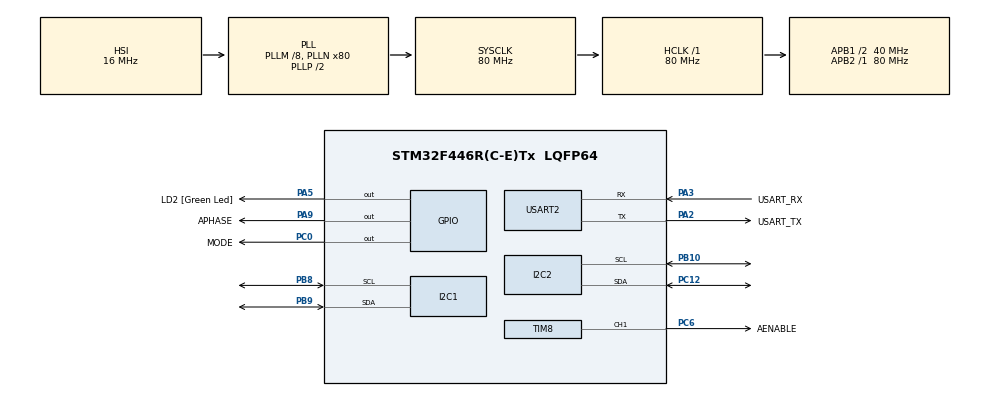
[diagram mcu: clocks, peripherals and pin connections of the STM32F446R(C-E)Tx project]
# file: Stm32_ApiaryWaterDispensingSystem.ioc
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FREERTOS.BinarySemaphores01=BinarySemBme280,Dynamic,NULL;BinarySemBH1750,Dynamic,NULL;BinarySemRTC,Dynamic,NULL;BinarySemCountUp,Dynamic,NULL;BinarySemCountDown,Dynamic,NULL;BinarySemSetAlarm,Dynamic,NULL
FREERTOS.Mutexes01=MutexPrintf,Dynamic,NULL;MutexI2C,Dynamic,NULL;MutexRTC,Dynamic,NULL;MutexAlarm,Dynamic,NULL;MutexI2C2,Dynamic,NULL
FREERTOS.Queues01=QueueBme,16,BmeData_t,0,Dynamic,NULL,NULL;QueueBh1750,16,BHData_t,0,Dynamic,NULL,NULL;QueueRTCData,16,RTC_DateTypeDef,0,Dynamic,NULL,NULL;QueueRTCTime,16,RTC_TimeTypeDef,0,Dynamic,NULL,NULL;QueueCounterPump,16,RTC_TimeTypeDef,0,Dynamic,NULL,NULL;QueueAlarm,16,RTC_TimeTypeDef,0,Dynamic,NULL,NULL
FREERTOS.Tasks01=TaskLed,24,128,StartTaskL,Default,NULL,Dynamic,NULL,NULL;TaskRTC,24,2048,StartTaskRTC,Default,NULL,Dynamic,NULL,NULL;TaskBme280,24,512,StartTaskBme280,Default,NULL,Dynamic,NULL,NULL;TaskBH1750,24,512,StartTaskBH1750,Default,NULL,Dynamic,NULL,NULL;TaskSSD1306,24,2048,StartTaskSSD1306,Default,NULL,Dynamic,NULL,NULL;TaskPumpON,24,512,StartTaskPumpON,Default,NULL,Dynamic,NULL,NULL;TaskPumpOFF,24,256,StartTaskPumpOFF,Default,NULL,Dynamic,NULL,NULL;TaskCounterUp,24,512,StartTaskCounterPumpUp,Default,NULL,Dynamic,NULL,NULL;TaskCounterDown,24,256,StartTaskCounterDown,Default,NULL,Dynamic,NULL,NULL;TaskAlarmCountU,24,256,StartTaskAlarmCounterUp,Default,NULL,Dynamic,NULL,NULL;TaskAlarmCountD,24,256,StartTaskAlarmCountDown,Default,NULL,Dynamic,NULL,NULL
FREERTOS.Timers01=TimerBmeData,CallbackTimerBmeData,osTimerPeriodic,Default,NULL,Dynamic,NULL;TimerBh1750Data,CallbackTimerBh1750Data,osTimerPeriodic,Default,NULL,Dynamic,NULL;TimerRTC,CallbackTimerRTC,osTimerPeriodic,Default,NULL,Dynamic,NULL
FREERTOS.configENABLE_FPU=0
FREERTOS.configTOTAL_HEAP_SIZE=32768
FREERTOS.configUSE_APPLICATION_TASK_TAG=0
FREERTOS.configUSE_NEWLIB_REENTRANT=1
I2C1.GeneralCallMode=I2C_GENERALCALL_DISABLE
I2C1.I2C_Mode=I2C_Fast
I2C2.I2C_Mode=I2C_Fast
Mcu.Family=STM32F4
Mcu.Name=STM32F446R(C-E)Tx
Mcu.Package=LQFP64
NVIC.PriorityGroup=NVIC_PRIORITYGROUP_4
NVIC.TIM1_UP_TIM10_IRQn=true\:15\:0\:false\:false\:true\:false\:false\:true\:true
NVIC.TimeBase=TIM1_UP_TIM10_IRQn
NVIC.TimeBaseIP=TIM10
PA13.GPIO_Label=TMS
PA13.Mode=Serial_Wire
PA13.Signal=SYS_JTMS-SWDIO
PA14.GPIO_Label=TCK
PA14.Mode=Serial_Wire
PA14.Signal=SYS_JTCK-SWCLK
PA2.GPIO_Label=USART_TX
PA2.Mode=Asynchronous
PA2.Signal=USART2_TX
PA3.GPIO_Label=USART_RX
PA3.Mode=Asynchronous
PA3.Signal=USART2_RX
PA5.GPIO_Label=LD2 [Green Led]
PA5.Signal=GPIO_Output
PA9.GPIO_Label=APHASE
PA9.Signal=GPIO_Output
PB10.Mode=I2C
PB10.Signal=I2C2_SCL
PB3.GPIO_Label=SWO
PB3.Signal=SYS_JTDO-SWO
PB8.Mode=I2C
PB8.Signal=I2C1_SCL
PB9.Mode=I2C
PB9.Signal=I2C1_SDA
PC0.GPIO_Label=MODE
PC0.Signal=GPIO_Output
PC12.Mode=I2C
PC12.Signal=I2C2_SDA
PC14-OSC32_IN.Mode=LSE-External-Oscillator
PC14-OSC32_IN.Signal=RCC_OSC32_IN
PC15-OSC32_OUT.Mode=LSE-External-Oscillator
PC15-OSC32_OUT.Signal=RCC_OSC32_OUT
PC6.GPIO_Label=AENABLE
PC6.Signal=S_TIM8_CH1
PH0-OSC_IN.Mode=HSE-External-Oscillator
PH0-OSC_IN.Signal=RCC_OSC_IN
PH1-OSC_OUT.Mode=HSE-External-Oscillator
PH1-OSC_OUT.Signal=RCC_OSC_OUT
ProjectManager.HeapSize=0x400
ProjectManager.StackSize=0x800
ProjectManager.TargetToolchain=STM32CubeIDE
RCC.48MHZClocksFreq_Value=84000000
RCC.AHBFreq_Value=80000000
RCC.APB1CLKDivider=RCC_HCLK_DIV2
RCC.APB1Freq_Value=40000000
RCC.APB1TimFreq_Value=80000000
RCC.APB2Freq_Value=80000000
RCC.APB2TimFreq_Value=80000000
RCC.CortexFreq_Value=80000000
RCC.FLatency-AdvancedSettings=FLASH_LATENCY_2
RCC.HCLKFreq_Value=80000000
RCC.HSE_VALUE=8000000
RCC.HSI_VALUE=16000000
RCC.PLLM=8
RCC.PLLN=80
RCC.SYSCLKFreq_VALUE=80000000
RCC.SYSCLKSource=RCC_SYSCLKSOURCE_PLLCLK
RCC.USBFreq_Value=80000000
RCC.VCOOutputFreq_Value=160000000
RTC.Format=RTC_FORMAT_BIN
RTC.Hours=7
RTC.Minutes=59
RTC.Month=RTC_MONTH_MARCH
RTC.Seconds=30
RTC.WeekDay=RTC_WEEKDAY_FRIDAY
RTC.Year=24
SH.S_TIM8_CH1.0=TIM8_CH1,PWM Generation1 CH1
TIM8.Channel-PWM\ Generation1\ CH1=TIM_CHANNEL_1
TIM8.OC1Preload_PWM=ENABLE
TIM8.Period=99
TIM8.Prescaler=39
USART2.VirtualMode=VM_ASYNC
VP_FREERTOS_VS_CMSIS_V2.Mode=CMSIS_V2
VP_RTC_VS_RTC_Activate.Mode=RTC_Enabled
VP_RTC_VS_RTC_Calendar.Mode=RTC_Calendar
VP_SYS_VS_tim10.Mode=TIM10
VP_TIM8_VS_ClockSourceINT.Mode=Internal
board=NUCLEO-F446RE

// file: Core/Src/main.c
/* USER CODE BEGIN Header */
/**
  ******************************************************************************
  * @file           : main.c
  * @brief          : Main program body
  ******************************************************************************
  * @attention
  *
  * Copyright (c) 2024 STMicroelectronics.
  * All rights reserved.
  *
  * This software is licensed under terms that can be found in the LICENSE file
  * in the root directory of this software component.
  * If no LICENSE file comes with this software, it is provided AS-IS.
  *
  ******************************************************************************
  */
/* USER CODE END Header */
#include "main.h"
#include "cmsis_os.h"
#include "i2c.h"
#include "rtc.h"
#include "tim.h"
#include "usart.h"
#include "gpio.h"

void SystemClock_Config(void);
void MX_FREERTOS_Init(void);

/* USER CODE BEGIN 0 */
//RTC_TimeTypeDef _RTCTime;
// RTC_DateTypeDef _RTCDate;

/* USER CODE END 0 */

int main(void)
{
  /* USER CODE BEGIN 1 */
//		_RTCDate.Date = 0x1;
//	 	_RTCDate.Month = RTC_MONTH_MARCH;
//	 	_RTCDate.Year = 0x24;
//
//	 	_RTCTime.Hours = 0x0;
//	    _RTCTime.Minutes =0x0;
//		_RTCTime.Seconds =0x0;
  /* USER CODE END 1 */

  /* MCU Configuration--------------------------------------------------------*/

  /* Reset of all peripherals, Initializes the Flash interface and the Systick. */
  HAL_Init();

  /* Configure the system clock */
  SystemClock_Config();

  /* Initialize all configured peripherals */
  MX_GPIO_Init();
  MX_I2C1_Init();
  MX_USART2_UART_Init();
  MX_RTC_Init();
  MX_TIM8_Init();
  MX_I2C2_Init();

  /* Init scheduler */
  osKernelInitialize();  /* Call init function for freertos objects (in freertos.c) */
  MX_FREERTOS_Init();

  /* Start scheduler */
  osKernelStart();
  /* We should never get here as control is now taken by the scheduler */
  /* Infinite loop */
  while (1)
  {

  }
}

void SystemClock_Config(void)
{
  RCC_OscInitTypeDef RCC_OscInitStruct = {0};
  RCC_ClkInitTypeDef RCC_ClkInitStruct = {0};

  /** Configure the main internal regulator output voltage
  */
  __HAL_RCC_PWR_CLK_ENABLE();
  __HAL_PWR_VOLTAGESCALING_CONFIG(PWR_REGULATOR_VOLTAGE_SCALE3);

  /** Initializes the RCC Oscillators according to the specified parameters
  * in the RCC_OscInitTypeDef structure.
  */
  RCC_OscInitStruct.OscillatorType = RCC_OSCILLATORTYPE_HSI|RCC_OSCILLATORTYPE_LSI;
  RCC_OscInitStruct.LSEState = RCC_LSE_ON;
  RCC_OscInitStruct.HSIState = RCC_HSI_ON;
  RCC_OscInitStruct.HSICalibrationValue = RCC_HSICALIBRATION_DEFAULT;
  RCC_OscInitStruct.LSIState = RCC_LSI_ON;
  RCC_OscInitStruct.PLL.PLLState = RCC_PLL_ON;
  RCC_OscInitStruct.PLL.PLLSource = RCC_PLLSOURCE_HSI;
  RCC_OscInitStruct.PLL.PLLM = 8;
  RCC_OscInitStruct.PLL.PLLN = 80;
  RCC_OscInitStruct.PLL.PLLP = RCC_PLLP_DIV2;
  RCC_OscInitStruct.PLL.PLLQ = 2;
  RCC_OscInitStruct.PLL.PLLR = 2;
  if (HAL_RCC_OscConfig(&RCC_OscInitStruct) != HAL_OK)
  {
    Error_Handler();
  }

  /** Initializes the CPU, AHB and APB buses clocks
  */
  RCC_ClkInitStruct.ClockType = RCC_CLOCKTYPE_HCLK|RCC_CLOCKTYPE_SYSCLK
                              |RCC_CLOCKTYPE_PCLK1|RCC_CLOCKTYPE_PCLK2;
  RCC_ClkInitStruct.SYSCLKSource = RCC_SYSCLKSOURCE_PLLCLK;
  RCC_ClkInitStruct.AHBCLKDivider = RCC_SYSCLK_DIV1;
  RCC_ClkInitStruct.APB1CLKDivider = RCC_HCLK_DIV2;
  RCC_ClkInitStruct.APB2CLKDivider = RCC_HCLK_DIV1;

  if (HAL_RCC_ClockConfig(&RCC_ClkInitStruct, FLASH_LATENCY_2) != HAL_OK)
  {
    Error_Handler();
  }
}

void HAL_TIM_PeriodElapsedCallback(TIM_HandleTypeDef *htim)
{
  if (htim->Instance == TIM10) {
    HAL_IncTick();
  }
}

void Error_Handler(void)
{
  __disable_irq();
  while (1)
  {
  }
}

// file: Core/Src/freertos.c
/* USER CODE BEGIN Header */
/**
  ******************************************************************************
  * File Name          : freertos.c
  * Description        : Code for freertos applications
  ******************************************************************************
  * @attention
  *
  * Copyright (c) 2024 STMicroelectronics.
  * All rights reserved.
  *
  * This software is licensed under terms that can be found in the LICENSE file
  * in the root directory of this software component.
  * If no LICENSE file comes with this software, it is provided AS-IS.
  *
  ******************************************************************************
  */
/* USER CODE END Header */

#include "FreeRTOS.h"
#include "task.h"
#include "main.h"
#include "cmsis_os.h"

/* USER CODE BEGIN Includes */
#include "semphr.h"

#include "stm32f4xx_it.h"
#include "stm32f4xx_hal.h"
#include "stm32f4xx_hal_gpio_ex.h"
#include "stm32f4xx_hal_rtc_ex.h"
#include "stm32_hal_legacy.h"
#include "stm32f4xx_hal_gpio.h"
#include "stm32f4xx_hal_rtc.h"
#include "stm32f4xx_hal_i2c.h"

#include "stm32f4xx_hal_exti.h"
#include "stm32f4xx_hal_uart.h"

#include <stdio.h>
#include <printf.h>

#include "usart.h"
#include "gpio.h"
#include "i2c.h"
#include "rtc.h"
#include "bme280.h"
#include "tim.h"
#include "SSD1306_OLED.h"
#include "drv8835.h"

#include "bh1750.h"
#include "GFX_BW.h"
#include "fonts/font_8x5.h"
/* USER CODE END Includes */

/* USER CODE BEGIN Variables */
typedef struct {
	float Humidity;
	float Temperature;
	int32_t Pressure;
} BmeData_t;
typedef struct {
	float LightIntensity;

} BHData_t;

/* USER CODE END Variables */
/* Definitions for TaskLed */
osThreadId_t TaskLedHandle;
const osThreadAttr_t TaskLed_attributes = {
  .name = "TaskLed",
  .stack_size = 128 * 4,
  .priority = (osPriority_t) osPriorityNormal,
};
/* Definitions for TaskRTC */
osThreadId_t TaskRTCHandle;
const osThreadAttr_t TaskRTC_attributes = {
  .name = "TaskRTC",
  .stack_size = 2048 * 4,
  .priority = (osPriority_t) osPriorityNormal,
};
/* Definitions for TaskBme280 */
osThreadId_t TaskBme280Handle;
const osThreadAttr_t TaskBme280_attributes = {
  .name = "TaskBme280",
  .stack_size = 512 * 4,
  .priority = (osPriority_t) osPriorityNormal,
};
/* Definitions for TaskBH1750 */
osThreadId_t TaskBH1750Handle;
const osThreadAttr_t TaskBH1750_attributes = {
  .name = "TaskBH1750",
  .stack_size = 512 * 4,
  .priority = (osPriority_t) osPriorityNormal,
};
/* Definitions for TaskSSD1306 */
osThreadId_t TaskSSD1306Handle;
const osThreadAttr_t TaskSSD1306_attributes = {
  .name = "TaskSSD1306",
  .stack_size = 2048 * 4,
  .priority = (osPriority_t) osPriorityNormal,
};
/* Definitions for TaskPumpON */
osThreadId_t TaskPumpONHandle;
const osThreadAttr_t TaskPumpON_attributes = {
  .name = "TaskPumpON",
  .stack_size = 512 * 4,
  .priority = (osPriority_t) osPriorityNormal,
};
/* Definitions for TaskPumpOFF */
osThreadId_t TaskPumpOFFHandle;
const osThreadAttr_t TaskPumpOFF_attributes = {
  .name = "TaskPumpOFF",
  .stack_size = 256 * 4,
  .priority = (osPriority_t) osPriorityNormal,
};
/* Definitions for TaskCounterUp */
osThreadId_t TaskCounterUpHandle;
const osThreadAttr_t TaskCounterUp_attributes = {
  .name = "TaskCounterUp",
  .stack_size = 512 * 4,
  .priority = (osPriority_t) osPriorityNormal,
};
/* Definitions for TaskCounterDown */
osThreadId_t TaskCounterDownHandle;
const osThreadAttr_t TaskCounterDown_attributes = {
  .name = "TaskCounterDown",
  .stack_size = 256 * 4,
  .priority = (osPriority_t) osPriorityNormal,
};
/* Definitions for TaskAlarmCountU */
osThreadId_t TaskAlarmCountUHandle;
const osThreadAttr_t TaskAlarmCountU_attributes = {
  .name = "TaskAlarmCountU",
  .stack_size = 256 * 4,
  .priority = (osPriority_t) osPriorityNormal,
};
/* Definitions for TaskAlarmCountD */
osThreadId_t TaskAlarmCountDHandle;
const osThreadAttr_t TaskAlarmCountD_attributes = {
  .name = "TaskAlarmCountD",
  .stack_size = 256 * 4,
  .priority = (osPriority_t) osPriorityNormal,
};
/* Definitions for QueueBme */
osMessageQueueId_t QueueBmeHandle;
const osMessageQueueAttr_t QueueBme_attributes = {
  .name = "QueueBme"
};
/* Definitions for QueueBh1750 */
osMessageQueueId_t QueueBh1750Handle;
const osMessageQueueAttr_t QueueBh1750_attributes = {
  .name = "QueueBh1750"
};
/* Definitions for QueueRTCData */
osMessageQueueId_t QueueRTCDataHandle;
const osMessageQueueAttr_t QueueRTCData_attributes = {
  .name = "QueueRTCData"
};
/* Definitions for QueueRTCTime */
osMessageQueueId_t QueueRTCTimeHandle;
const osMessageQueueAttr_t QueueRTCTime_attributes = {
  .name = "QueueRTCTime"
};
/* Definitions for QueueCounterPump */
osMessageQueueId_t QueueCounterPumpHandle;
const osMessageQueueAttr_t QueueCounterPump_attributes = {
  .name = "QueueCounterPump"
};
/* Definitions for QueueAlarm */
osMessageQueueId_t QueueAlarmHandle;
const osMessageQueueAttr_t QueueAlarm_attributes = {
  .name = "QueueAlarm"
};
/* Definitions for TimerBmeData */
osTimerId_t TimerBmeDataHandle;
const osTimerAttr_t TimerBmeData_attributes = {
  .name = "TimerBmeData"
};
/* Definitions for TimerBh1750Data */
osTimerId_t TimerBh1750DataHandle;
const osTimerAttr_t TimerBh1750Data_attributes = {
  .name = "TimerBh1750Data"
};
/* Definitions for TimerRTC */
osTimerId_t TimerRTCHandle;
const osTimerAttr_t TimerRTC_attributes = {
  .name = "TimerRTC"
};
/* Definitions for MutexPrintf */
osMutexId_t MutexPrintfHandle;
const osMutexAttr_t MutexPrintf_attributes = {
  .name = "MutexPrintf"
};
/* Definitions for MutexI2C */
osMutexId_t MutexI2CHandle;
const osMutexAttr_t MutexI2C_attributes = {
  .name = "MutexI2C"
};
/* Definitions for MutexRTC */
osMutexId_t MutexRTCHandle;
const osMutexAttr_t MutexRTC_attributes = {
  .name = "MutexRTC"
};
/* Definitions for MutexAlarm */
osMutexId_t MutexAlarmHandle;
const osMutexAttr_t MutexAlarm_attributes = {
  .name = "MutexAlarm"
};
/* Definitions for MutexI2C2 */
osMutexId_t MutexI2C2Handle;
const osMutexAttr_t MutexI2C2_attributes = {
  .name = "MutexI2C2"
};
/* Definitions for BinarySemBme280 */
osSemaphoreId_t BinarySemBme280Handle;
const osSemaphoreAttr_t BinarySemBme280_attributes = {
  .name = "BinarySemBme280"
};
/* Definitions for BinarySemBH1750 */
osSemaphoreId_t BinarySemBH1750Handle;
const osSemaphoreAttr_t BinarySemBH1750_attributes = {
  .name = "BinarySemBH1750"
};
/* Definitions for BinarySemRTC */
osSemaphoreId_t BinarySemRTCHandle;
const osSemaphoreAttr_t BinarySemRTC_attributes = {
  .name = "BinarySemRTC"
};
/* Definitions for BinarySemCountUp */
osSemaphoreId_t BinarySemCountUpHandle;
const osSemaphoreAttr_t BinarySemCountUp_attributes = {
  .name = "BinarySemCountUp"
};
/* Definitions for BinarySemCountDown */
osSemaphoreId_t BinarySemCountDownHandle;
const osSemaphoreAttr_t BinarySemCountDown_attributes = {
  .name = "BinarySemCountDown"
};
/* Definitions for BinarySemSetAlarm */
osSemaphoreId_t BinarySemSetAlarmHandle;
const osSemaphoreAttr_t BinarySemSetAlarm_attributes = {
  .name = "BinarySemSetAlarm"
};

/* USER CODE BEGIN FunctionPrototypes */
void _putchar(char character);
/* USER CODE END FunctionPrototypes */

void StartTaskL(void *argument);
void StartTaskRTC(void *argument);
void StartTaskBme280(void *argument);
void StartTaskBH1750(void *argument);
void StartTaskSSD1306(void *argument);
void StartTaskPumpON(void *argument);
void StartTaskPumpOFF(void *argument);
void StartTaskCounterPumpUp(void *argument);
void StartTaskCounterDown(void *argument);
void StartTaskAlarmCounterUp(void *argument);
void StartTaskAlarmCountDown(void *argument);
void CallbackTimerBmeData(void *argument);
void CallbackTimerBh1750Data(void *argument);
void CallbackTimerRTC(void *argument);

void MX_FREERTOS_Init(void); /* (MISRA C 2004 rule 8.1) */

void MX_FREERTOS_Init(void) {
  /* Create the mutex(es) */
  /* creation of MutexPrintf */
  MutexPrintfHandle = osMutexNew(&MutexPrintf_attributes);

  /* creation of MutexI2C */
  MutexI2CHandle = osMutexNew(&MutexI2C_attributes);

  /* creation of MutexRTC */
  MutexRTCHandle = osMutexNew(&MutexRTC_attributes);

  /* creation of MutexAlarm */
  MutexAlarmHandle = osMutexNew(&MutexAlarm_attributes);

  /* creation of MutexI2C2 */
  MutexI2C2Handle = osMutexNew(&MutexI2C2_attributes);

  /* Create the semaphores(s) */
  /* creation of BinarySemBme280 */
  BinarySemBme280Handle = osSemaphoreNew(1, 1, &BinarySemBme280_attributes);

  /* creation of BinarySemBH1750 */
  BinarySemBH1750Handle = osSemaphoreNew(1, 1, &BinarySemBH1750_attributes);

  /* creation of BinarySemRTC */
  BinarySemRTCHandle = osSemaphoreNew(1, 1, &BinarySemRTC_attributes);

  /* creation of BinarySemCountUp */
  BinarySemCountUpHandle = osSemaphoreNew(1, 1, &BinarySemCountUp_attributes);

  /* creation of BinarySemCountDown */
  BinarySemCountDownHandle = osSemaphoreNew(1, 1, &BinarySemCountDown_attributes);

  /* creation of BinarySemSetAlarm */
  BinarySemSetAlarmHandle = osSemaphoreNew(1, 1, &BinarySemSetAlarm_attributes);

  /* Create the timer(s) */
  /* creation of TimerBmeData */
  TimerBmeDataHandle = osTimerNew(CallbackTimerBmeData, osTimerPeriodic, NULL, &TimerBmeData_attributes);

  /* creation of TimerBh1750Data */
  TimerBh1750DataHandle = osTimerNew(CallbackTimerBh1750Data, osTimerPeriodic, NULL, &TimerBh1750Data_attributes);

  /* creation of TimerRTC */
  TimerRTCHandle = osTimerNew(CallbackTimerRTC, osTimerPeriodic, NULL, &TimerRTC_attributes);

  /* Create the queue(s) */
  /* creation of QueueBme */
  QueueBmeHandle = osMessageQueueNew (16, sizeof(BmeData_t), &QueueBme_attributes);

  /* creation of QueueBh1750 */
  QueueBh1750Handle = osMessageQueueNew (16, sizeof(BHData_t), &QueueBh1750_attributes);

  /* creation of QueueRTCData */
  QueueRTCDataHandle = osMessageQueueNew (16, sizeof(RTC_DateTypeDef), &QueueRTCData_attributes);

  /* creation of QueueRTCTime */
  QueueRTCTimeHandle = osMessageQueueNew (16, sizeof(RTC_TimeTypeDef), &QueueRTCTime_attributes);

  /* creation of QueueCounterPump */
  QueueCounterPumpHandle = osMessageQueueNew (16, sizeof(RTC_TimeTypeDef), &QueueCounterPump_attributes);

  /* creation of QueueAlarm */
  QueueAlarmHandle = osMessageQueueNew (16, sizeof(RTC_TimeTypeDef), &QueueAlarm_attributes);

  /* Create the thread(s) */
  /* creation of TaskLed */
  TaskLedHandle = osThreadNew(StartTaskL, NULL, &TaskLed_attributes);

  /* creation of TaskRTC */
  TaskRTCHandle = osThreadNew(StartTaskRTC, NULL, &TaskRTC_attributes);

  /* creation of TaskBme280 */
  TaskBme280Handle = osThreadNew(StartTaskBme280, NULL, &TaskBme280_attributes);

  /* creation of TaskBH1750 */
  TaskBH1750Handle = osThreadNew(StartTaskBH1750, NULL, &TaskBH1750_attributes);

  /* creation of TaskSSD1306 */
  TaskSSD1306Handle = osThreadNew(StartTaskSSD1306, NULL, &TaskSSD1306_attributes);

  /* creation of TaskPumpON */
  TaskPumpONHandle = osThreadNew(StartTaskPumpON, NULL, &TaskPumpON_attributes);

  /* creation of TaskPumpOFF */
  TaskPumpOFFHandle = osThreadNew(StartTaskPumpOFF, NULL, &TaskPumpOFF_attributes);

  /* creation of TaskCounterUp */
  TaskCounterUpHandle = osThreadNew(StartTaskCounterPumpUp, NULL, &TaskCounterUp_attributes);

  /* creation of TaskCounterDown */
  TaskCounterDownHandle = osThreadNew(StartTaskCounterDown, NULL, &TaskCounterDown_attributes);

  /* creation of TaskAlarmCountU */
  TaskAlarmCountUHandle = osThreadNew(StartTaskAlarmCounterUp, NULL, &TaskAlarmCountU_attributes);

  /* creation of TaskAlarmCountD */
  TaskAlarmCountDHandle = osThreadNew(StartTaskAlarmCountDown, NULL, &TaskAlarmCountD_attributes);

}

void StartTaskL(void *argument)
{
  /* USER CODE BEGIN StartTaskL */
	uint32_t tick4 = osKernelGetTickCount();
  /* Infinite loop */
  for(;;)
  {
	  tick4 += ((10000 * osKernelGetTickFreq()) / 1000);
	  osDelayUntil(tick4);
  }
  /* USER CODE END StartTaskL */
}

void StartTaskRTC(void *argument)
{
  /* USER CODE BEGIN StartTaskRTC */
//	RTC_TimeTypeDef _RTCTime;
// 	RTC_DateTypeDef _RTCDate;
 	extern RTC_HandleTypeDef hrtc;
 	 RTC_TimeTypeDef _RTCTime, _AlarmPeriod;
 	 RTC_DateTypeDef _RTCDate;
 	 RTC_AlarmTypeDef _AlarmON, _AlarmOFF;

 	RTC_TimeTypeDef _PumpOperatingTime;

 	 _AlarmON.AlarmTime.Hours = 8 ;
 	 _AlarmON.AlarmTime.Minutes = 0 ;
 	_AlarmON.AlarmTime.Seconds = 0 ;

	 _AlarmOFF.AlarmTime.Hours = 8 ;
	 _AlarmOFF.AlarmTime.Minutes = 1 ;
	_AlarmOFF.AlarmTime.Seconds = 0 ;

 	HAL_RTC_Init(&hrtc);
	HAL_RTC_GetDate(&hrtc, &_RTCDate, RTC_FORMAT_BIN);
	HAL_RTC_GetTime(&hrtc, &_RTCTime, RTC_FORMAT_BIN);

	HAL_RTC_SetAlarm(&hrtc, &_AlarmON, RTC_FORMAT_BIN);
	HAL_RTC_SetAlarm(&hrtc, &_AlarmOFF, RTC_FORMAT_BIN);

// 	_RTCTime.Hours = 0x0;
//    _RTCTime.Minutes =0x0;
//	_RTCTime.Seconds =0x0;
// 	HAL_RTC_SetDate(&hrtc, &_RTCDate, RTC_FORMAT_BIN);
// 	HAL_RTC_SetTime(&hrtc, &_RTCTime, RTC_FORMAT_BIN);

 	osTimerStart(TimerRTCHandle, 100);
 	uint32_t tick4 = osKernelGetTickCount();
  /* Infinite loop */
  for(;;)
  {
//	  osMessageQueuePut(QueueCounterPumpHandle, &_PumpOperatingTime, 0, 10);
//	  osMessageQueuePut(QueueAlarmHandle, &_AlarmPeriod, 0, 10);

	  HAL_RTC_GetDate(&hrtc, &_RTCDate, RTC_FORMAT_BIN);
	  HAL_RTC_GetTime(&hrtc, &_RTCTime, RTC_FORMAT_BIN);

////	  osMessageQueueGet(QueueAlarmHandle, &_AlarmPeriod, 0, 10);
//	  if(osOK == osSemaphoreAcquire(BinarySemSetAlarmHandle, 0))
//		{
//
//		  	  osMessageQueueGet(QueueAlarmHandle, &_AlarmPeriod, 0, 100);
//		  	  osMessageQueueGet(QueueCounterPumpHandle, &_PumpOperatingTime, 0, 100);
//			  _AlarmOFF.AlarmTime.Minutes = _PumpOperatingTime.Minutes;
//			  HAL_RTC_SetAlarm(&hrtc, &_AlarmOFF, RTC_FORMAT_BIN);
//		}

	   if (_AlarmON.AlarmTime.Hours ==  _RTCTime.Hours && _AlarmON.AlarmTime.Minutes ==  _RTCTime.Minutes )
	  	  {
		  osMutexAcquire(MutexAlarmHandle, osWaitForever);
			  HAL_GPIO_WritePin(LD2_GPIO_Port, LD2_Pin,GPIO_PIN_SET);
			  osThreadFlagsSet(TaskPumpONHandle, 0x00000001U);
			  _AlarmON.AlarmTime.Hours = _AlarmON.AlarmTime.Hours + 1;

			  if(_AlarmON.AlarmTime.Hours == 24)
				  {
					  _AlarmON.AlarmTime.Hours = 8;
				  }
			  HAL_RTC_SetAlarm(&hrtc, &_AlarmON, RTC_FORMAT_BIN);
			  osMutexRelease(MutexAlarmHandle);
	  	  }
	  else if(_AlarmOFF.AlarmTime.Hours ==  _RTCTime.Hours && _AlarmOFF.AlarmTime.Minutes ==  _RTCTime.Minutes )
	  	  {
		  	  osMutexAcquire(MutexAlarmHandle, osWaitForever);
			  HAL_GPIO_WritePin(LD2_GPIO_Port, LD2_Pin,GPIO_PIN_RESET);
			  osThreadFlagsSet(TaskPumpOFFHandle, 0x00000010U);

			  _AlarmOFF.AlarmTime.Hours = _AlarmOFF.AlarmTime.Hours + 1;
			  HAL_RTC_SetAlarm(&hrtc, &_AlarmOFF, RTC_FORMAT_BIN);
			  osMutexRelease(MutexAlarmHandle);

	  	  }

//	  if(RTCTime.Seconds != CompareSeconds)
//	  {
//
//
//		  CompareSeconds = RTCTime.Seconds;
//	  }
	  if (osOK == osSemaphoreAcquire(BinarySemRTCHandle, 0)) {
//	  	  			osMessageQueuePut(QueueRTCDataHandle, &_RTCDate, 0, osWaitForever);
	  	  			osMessageQueuePut(QueueRTCTimeHandle, &_RTCTime, 0, osWaitForever);
	  	  		}

	  tick4 += ((70 * osKernelGetTickFreq()) / 1000);
	  osDelayUntil(tick4);
  }
  /* USER CODE END StartTaskRTC */
}

void StartTaskBme280(void *argument)
{
  /* USER CODE BEGIN StartTaskBme280 */
	BmeData_t _BmeData;
	uint32_t tick3;
	osMutexAcquire(MutexI2CHandle, osWaitForever);
	BME280_Init(&hi2c1, BME280_TEMPERATURE_16BIT, BME280_PRESSURE_ULTRALOWPOWER,
	BME280_HUMINIDITY_STANDARD, BME280_NORMALMODE);
	BME280_SetConfig(BME280_STANDBY_MS_10, BME280_FILTER_OFF);
	osMutexRelease(MutexI2CHandle);
	osTimerStart(TimerBmeDataHandle, 100);

	tick3 = osKernelGetTickCount();
  /* Infinite loop */
  for(;;)
  {
	  osMutexAcquire(MutexI2CHandle, osWaitForever);
	  BME280_ReadTemperatureAndPressureAndHuminidity(&_BmeData.Temperature,
	  				&_BmeData.Pressure, &_BmeData.Humidity);
	  osMutexRelease(MutexI2CHandle);

	  if (osOK == osSemaphoreAcquire(BinarySemBme280Handle, 0)) {
	  			osMessageQueuePut(QueueBmeHandle, &_BmeData, 0, osWaitForever);
	  		}
		printf("TASK BME280 \n\r ");
//	  printf("Temperature: %.2f, Humidity: %.2f z \n\r", _BmeData.Temperature, _BmeData.Humidity);
//////    osDelay(100);
		tick3 += (75 * osKernelGetTickFreq()) / 1000;
		osDelayUntil(tick3);
  }
  /* USER CODE END StartTaskBme280 */
}

void StartTaskBH1750(void *argument)
{
  /* USER CODE BEGIN StartTaskBH1750 */

	uint32_t tick4;
	BHData_t _BHData;

	//	float BH1750_lux;

	osMutexAcquire(MutexI2CHandle, osWaitForever);
	BH1750_Init(&hi2c1);
	BH1750_SetMode(CONTINUOUS_HIGH_RES_MODE_2);
	osMutexRelease(MutexI2CHandle);

	osTimerStart(TimerBh1750DataHandle, 100);
	tick4 = osKernelGetTickCount();
  /* Infinite loop */
  for(;;)
  {
	  	  osMutexAcquire(MutexI2CHandle, osWaitForever);

	  		BH1750_ReadLight(&_BHData.LightIntensity);
	  //	  	  printf("Light: %.2f \n\r", _BhData.LightIntensity);
	  		osMutexRelease(MutexI2CHandle);

	  		if (osOK == osSemaphoreAcquire(BinarySemBH1750Handle, 0)) {
	  			osMessageQueuePut(QueueBh1750Handle, &_BHData, 0, osWaitForever);
	  		}
	  //	  	 	  if(BH1750_OK == BH1750_ReadLight(&BH1750_lux))
	  //	  	 	  	  {
	  //	  	 	  		  size = sprintf(buffer, "BH1750 Lux: %.2f\n\r", BH1750_lux);
	  //	  	 	  	  	  HAL_UART_Transmit(&huart2, (uint8_t*)buffer, size, 100);
	  //	  	 	  	  }
	  		printf("TASK BH1750 \n\r ");
	  		tick4 += ((65 * osKernelGetTickFreq()) / 1000);
	  		osDelayUntil(tick4);

  }
  /* USER CODE END StartTaskBH1750 */
}

void StartTaskSSD1306(void *argument)
{
  /* USER CODE BEGIN StartTaskSSD1306 */

	char MessageTemp[32], MessageHum[32];
	char MessageInten[32];
	char MessageTime[32];
	char MessageTimePump[32];

	BmeData_t _BmeData;
	BHData_t _BHData;
	RTC_TimeTypeDef _RTCTime;

	uint32_t tick2;

	osMutexAcquire(MutexI2C2Handle, osWaitForever);
	SSD1306_Init(&hi2c2);
	osMutexRelease(MutexI2C2Handle);

	GFX_SetFont(font_8x5);
	SSD1306_Clear(BLACK);
	SSD1306_Display();

	tick2 = osKernelGetTickCount();

  /* Infinite loop */
  for(;;)
  {
	  SSD1306_Clear(BLACK);
	  osMessageQueueGet(QueueBmeHandle, &_BmeData, 0, osWaitForever);
	  osMessageQueueGet(QueueBh1750Handle, &_BHData, 0, osWaitForever);
//	  osMessageQueueGet(QueueRTCDataHandle, &_RTCDate, 0,osWaitForever);
	  osMessageQueueGet(QueueRTCTimeHandle, &_RTCTime, 0, osWaitForever);

//	  osMessageQueueGet(QueueAlarmHandle, &_AlarmPeriodicty, 0, 50);

	  sprintf(MessageTemp, "Temperature: %.2f ", _BmeData.Temperature);
	  sprintf(MessageHum, "Humidity: %.2f", _BmeData.Humidity);
	  sprintf(MessageInten, "Lx: %.2f,", _BHData.LightIntensity);
//	  sprintf(MessageData, "Data: %02d.%02d.20%02d  Time: %02d:%02d:%02d:%02d",_RTCDate.Date,_RTCDate.Month,_RTCDate.Year,_RTCTime.Hours,_RTCTime.Minutes,_RTCTime.Seconds);
	  sprintf(MessageTime, "Time: %02d:%02d:%02d",_RTCTime.Hours,_RTCTime.Minutes,_RTCTime.Seconds);
//	  sprintf(MessageTimePump, "Pump OP Time: %02d Min",_PumpOperatingTime.Minutes);
//	  sprintf(MessageFreqAlarm, "Alarm Period: %02d H", _AlarmPeriod.Hours);
	  GFX_DrawString(0, 0, MessageTime, WHITE, 0);
	  GFX_DrawString(0, 10, MessageTemp, WHITE, 0);
	  GFX_DrawString(0, 20, MessageHum, WHITE, 0);
	  GFX_DrawString(0, 30, MessageInten, WHITE, 0);
//	  GFX_DrawString(0, 40, MessageTimePump, WHITE, 0);
//	  GFX_DrawString(0, 50, MessageFreqAlarm, WHITE, 0);

	  SSD1306_Display();

	  printf("TASK OLED \n\r");

//		printf("TASK OLED I2C MUTEX is released \n\r");
      tick2 += (250 * osKernelGetTickFreq()) / 1000;
	  osDelayUntil(tick2);
  }
  /* USER CODE END StartTaskSSD1306 */
}

void StartTaskPumpON(void *argument)
{
  /* USER CODE BEGIN StartTaskPumpON */

	drv8835_init();
  /* Infinite loop */
  for(;;)
  {

	  osThreadFlagsWait(0x00000001U, osFlagsWaitAny, osWaitForever);

	  drv8835_set_motorA_speed(99);
	  osThreadFlagsClear(0x00000001U);
  }
  /* USER CODE END StartTaskPumpON */
}

void StartTaskPumpOFF(void *argument)
{
  /* USER CODE BEGIN StartTaskPumpOFF */

  /* Infinite loop */
  for(;;)
  {

	  osThreadFlagsWait(0x00000010U, osFlagsWaitAny, osWaitForever);

	  drv8835_set_motorA_speed(0);

  }
  /* USER CODE END StartTaskPumpOFF */
}

void StartTaskCounterPumpUp(void *argument)
{
  /* USER CODE BEGIN StartTaskCounterPumpUp */
	RTC_TimeTypeDef _PumpOperatingTime;
	uint32_t tick;

	tick= osKernelGetTickCount();
  /* Infinite loop */
  for(;;)
  {

	  	  osThreadFlagsWait(0x00000100U, osFlagsWaitAll, osWaitForever);
		  osMessageQueueGet(QueueCounterPumpHandle, &_PumpOperatingTime, 0, 100);
	  	  _PumpOperatingTime.Minutes = _PumpOperatingTime.Minutes + 1;

	  	  if(_PumpOperatingTime.Minutes >= 59  )
	  	  {
	  		   _PumpOperatingTime.Minutes = 1;
	  	  }

	  	  osMessageQueuePut(QueueCounterPumpHandle, &_PumpOperatingTime, 0, 100);

	  	tick += (420 * osKernelGetTickFreq()) / 1000;
	  	osDelayUntil(tick);

  }
  /* USER CODE END StartTaskCounterPumpUp */
}

void StartTaskCounterDown(void *argument)
{
  /* USER CODE BEGIN StartTaskCounterDown */
	RTC_TimeTypeDef _PumpOperatingTime;

	uint32_t tick;
	tick = osKernelGetTickCount();
  /* Infinite loop */
  for(;;)
  {

	  	  	  osThreadFlagsWait(0x00001000U, osFlagsWaitAll, osWaitForever);

	  		  osMessageQueueGet(QueueCounterPumpHandle, &_PumpOperatingTime, 0, 100);
	  	      _PumpOperatingTime.Minutes = _PumpOperatingTime.Minutes - 1;

	  	  	  if(_PumpOperatingTime.Minutes == 0 ||_PumpOperatingTime.Minutes >= 60 )
	  	  	  {
	  	  	        _PumpOperatingTime.Minutes = 59;
	  	  	  }

	  	  	  osMessageQueuePut(QueueCounterPumpHandle, &_PumpOperatingTime,0,  100);

	 tick += (410 * osKernelGetTickFreq()) / 1000;
	osDelayUntil(tick);

  }
  /* USER CODE END StartTaskCounterDown */
}

void StartTaskAlarmCounterUp(void *argument)
{
  /* USER CODE BEGIN StartTaskAlarmCounterUp */
	RTC_TimeTypeDef _AlarmPeriod;

	uint32_t tick;
	tick = osKernelGetTickCount();
  /* Infinite loop */
  for(;;)
  {
	  osThreadFlagsWait(0x00010000U, osFlagsWaitAll, osWaitForever);
	  	  osMessageQueueGet(QueueAlarmHandle, &_AlarmPeriod, 0, 100);
	  	_AlarmPeriod.Hours= _AlarmPeriod.Hours + 1;

	  	  	  	  	  if(_AlarmPeriod.Hours >= 16 )
	  	  	  	  	  {
	  	  	  	  		  	 _AlarmPeriod.Hours = 1;
	  	  	  	  	  }

	  	  osMessageQueuePut(QueueAlarmHandle, &_AlarmPeriod,0,  100);
	  	osSemaphoreRelease(BinarySemSetAlarmHandle);

	  tick += (390 * osKernelGetTickFreq()) / 1000;
	  	osDelayUntil(tick);
  }
  /* USER CODE END StartTaskAlarmCounterUp */
}

void StartTaskAlarmCountDown(void *argument)
{
  /* USER CODE BEGIN StartTaskAlarmCountDown */
	RTC_AlarmTypeDef _AlarmPeriod;
	uint32_t tick;
	tick = osKernelGetTickCount();
  /* Infinite loop */
  for(;;)
  {
	  osThreadFlagsWait(0x00100000U, osFlagsWaitAll, osWaitForever);
	  osMessageQueueGet(QueueAlarmHandle, &_AlarmPeriod, 0, 100);
	  _AlarmPeriod.AlarmTime.Hours= _AlarmPeriod.AlarmTime.Hours - 1;

	  	  	  	  if(_AlarmPeriod.AlarmTime.Hours == 0 ||_AlarmPeriod.AlarmTime.Hours >= 16 )
	  	  	  	  {
	  	  	  		  	  _AlarmPeriod.AlarmTime.Hours = 16;
	  	  	  	  }

	  osMessageQueuePut(QueueAlarmHandle, &_AlarmPeriod,0,  100);
	  osSemaphoreRelease(BinarySemSetAlarmHandle);;

	  tick += (380 * osKernelGetTickFreq()) / 1000;
	  osDelayUntil(tick);
  }
  /* USER CODE END StartTaskAlarmCountDown */
}

/* CallbackTimerBmeData function */
void CallbackTimerBmeData(void *argument)
{
  /* USER CODE BEGIN CallbackTimerBmeData */
	osSemaphoreRelease(BinarySemBme280Handle);

  /* USER CODE END CallbackTimerBmeData */
}

/* CallbackTimerBh1750Data function */
void CallbackTimerBh1750Data(void *argument)
{
  /* USER CODE BEGIN CallbackTimerBh1750Data */
	osSemaphoreRelease(BinarySemBH1750Handle);
  /* USER CODE END CallbackTimerBh1750Data */
}

/* CallbackTimerRTC function */
void CallbackTimerRTC(void *argument)
{
  /* USER CODE BEGIN CallbackTimerRTC */
	osSemaphoreRelease(BinarySemRTCHandle);
  /* USER CODE END CallbackTimerRTC */
}

/* USER CODE BEGIN Application */

//void HAL_GPIO_EXTI_Callback(uint16_t GPIO_Pin)
//{
//
//	if(GPIO_Pin == B1_Pin)
//	{
//
//
//
////		osThreadFlagsSet(TaskCounterUpHandle, 0x00000100U);
//
//
//		osThreadFlagsSet(TaskAlarmCountUHandle, 0x00010000U);
//
//
//
//
//
//	}
//	else if(GPIO_Pin == B2_Pin)
//	{
//
//
//
////		osThreadFlagsSet(TaskCounterDownHandle, 0x00001000U);
//
//		osThreadFlagsSet(TaskAlarmCountDHandle, 0x00100000U);
//	}
//	else{
//		__NOP();
//	}
//}

void _putchar(char character) {
	// send char to console etc.
	osMutexAcquire(MutexPrintfHandle, osWaitForever);
	HAL_UART_Transmit(&huart2, (uint8_t*)&character, 1, 1000);

	osMutexRelease(MutexPrintfHandle);
}

/* USER CODE END Application */
